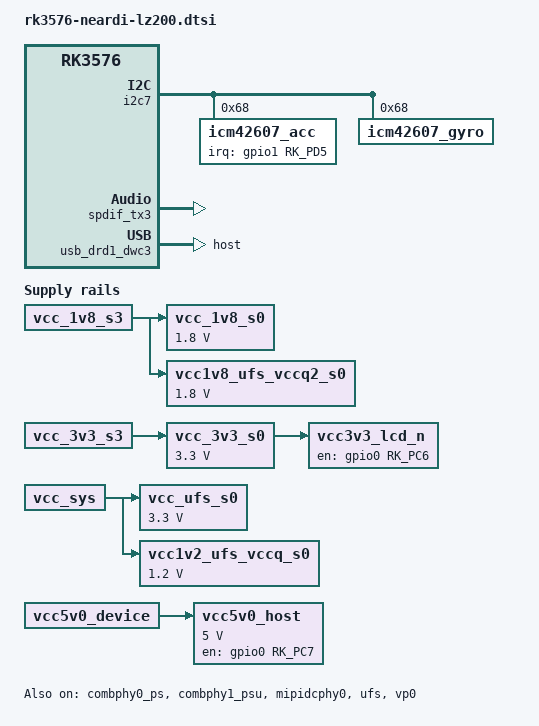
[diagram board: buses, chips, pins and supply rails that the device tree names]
// SPDX-License-Identifier: (GPL-2.0+ OR MIT)
/*
 * Copyright (c) 2024 Rockchip Electronics Co., Ltd.
 *
 */

#include <dt-bindings/usb/pd.h>
#include "rk3576-neardi.dtsi"
#include "rk3576-rk806.dtsi"

/ {
	pdmics: dummy-codec {
		status = "disabled";
		compatible = "rockchip,dummy-codec";
		#sound-dai-cells = <0>;
	};

	pdm_mic_array: pdm-mic-array {
		status = "disabled";
		compatible = "simple-audio-card";
		simple-audio-card,name = "rockchip,pdm-mic-array";
		simple-audio-card,cpu {
			sound-dai = <&pdm1>;
		};
		simple-audio-card,codec {
			sound-dai = <&pdmics>;
		};
	};

	vcc_1v8_s0: vcc-1v8-s0 {
		compatible = "regulator-fixed";
		regulator-name = "vcc_1v8_s0";
		regulator-boot-on;
		regulator-always-on;
		regulator-min-microvolt = <1800000>;
		regulator-max-microvolt = <1800000>;
		vin-supply = <&vcc_1v8_s3>;
	};

	vcc_3v3_s0: vcc-3v3-s0 {
		compatible = "regulator-fixed";
		regulator-name = "vcc_3v3_s0";
		regulator-boot-on;
		regulator-always-on;
		regulator-min-microvolt = <3300000>;
		regulator-max-microvolt = <3300000>;
		vin-supply = <&vcc_3v3_s3>;
	};

	vcc_ufs_s0: vcc-ufs-s0 {
		compatible = "regulator-fixed";
		regulator-name = "vcc_ufs_s0";
		regulator-boot-on;
		regulator-always-on;
		regulator-min-microvolt = <3300000>;
		regulator-max-microvolt = <3300000>;
		vin-supply = <&vcc_sys>;
	};

	vcc1v8_ufs_vccq2_s0: vcc1v8-ufs-vccq2-s0 {
		compatible = "regulator-fixed";
		regulator-name = "vcc1v8_ufs_vccq2_s0";
		regulator-boot-on;
		regulator-always-on;
		regulator-min-microvolt = <1800000>;
		regulator-max-microvolt = <1800000>;
		vin-supply = <&vcc_1v8_s3>;
	};

	vcc1v2_ufs_vccq_s0: vcc1v2-ufs-vccq-s0 {
		compatible = "regulator-fixed";
		regulator-name = "vcc1v2_ufs_vccq_s0";
		regulator-boot-on;
		regulator-always-on;
		regulator-min-microvolt = <1200000>;
		regulator-max-microvolt = <1200000>;
		vin-supply = <&vcc_sys>;
	};

	vcc3v3_lcd_n: vcc3v3-lcd0-n {
		compatible = "regulator-fixed";
		regulator-name = "vcc3v3_lcd0_n";
		regulator-boot-on;
		enable-active-high;
		gpio = <&gpio0 RK_PC6 GPIO_ACTIVE_HIGH>;
		vin-supply = <&vcc_3v3_s0>;
	};

	vcc5v0_host: vcc5v0-host {
		compatible = "regulator-fixed";
		regulator-name = "vcc5v0_host";
		regulator-boot-on;
		regulator-always-on;
		regulator-min-microvolt = <5000000>;
		regulator-max-microvolt = <5000000>;
		enable-active-high;
		gpio = <&gpio0 RK_PC7 GPIO_ACTIVE_HIGH>;
		vin-supply = <&vcc5v0_device>;
		pinctrl-names = "default";
		pinctrl-0 = <&usb_host_pwren>;
	};
};

&combphy0_ps {
	status = "okay";
};

&combphy1_psu {
	status = "okay";
};

&i2c7 {
	status = "okay";
	pinctrl-names = "default";
	pinctrl-0 = <&i2c7m1_xfer>;


	icm42607_acc: icm_acc@68 {
		status = "okay";
		compatible = "icm42607_acc";
		reg = <0x68>;
		irq-gpio = <&gpio1 RK_PD5 IRQ_TYPE_EDGE_RISING>;
		irq_enable = <0>;
		poll_delay_ms = <30>;
		type = <SENSOR_TYPE_ACCEL>;
		layout = <4>;
	};

	icm42607_gyro: icm_gyro@68 {
		status = "okay";
		compatible = "icm42607_gyro";
		reg = <0x68>;
		poll_delay_ms = <30>;
		type = <SENSOR_TYPE_GYROSCOPE>;
		layout = <4>;
	};
};

/*
 * mipidcphy0 needs to be enabled
 * when dsi is enabled
 */
&mipidcphy0 {
	status = "okay";
};

&pdm1 {
	status = "disabled";
	pinctrl-names = "default", "idle", "clk";
	pinctrl-0 = <&pdm1m1_sdi0
		     &pdm1m1_sdi1
		     &pdm1m1_sdi2
		     &pdm1m1_sdi3>;
	pinctrl-1 = <&pdm1m1_clk0_idle
		     &pdm1m1_clk1_idle>;
	pinctrl-2 = <&pdm1m1_clk0
		     &pdm1m1_clk1>;
};

&pinctrl {
	usb {
		usb_host_pwren: usb-host-pwren {
			rockchip,pins = <0 RK_PC7 RK_FUNC_GPIO &pcfg_pull_none>;
		};
	};
};

&spdif_tx3 {
	status = "okay";
};

&ufs {
	vcc-supply = <&vcc_ufs_s0>;
	vccq-supply = <&vcc1v2_ufs_vccq_s0>;
	vccq2-supply = <&vcc1v8_ufs_vccq2_s0>;
	status = "okay";
};

&u2phy0_otg {
	rockchip,typec-vbus-det;
};

&u2phy1_otg {
	phy-supply = <&vcc5v0_host>;
};

&usb_drd1_dwc3 {
	dr_mode = "host";
	status = "okay";
};

&vp0 {
	status = "okay";
};

&i2c1 {
	pinctrl-names = "default";
	pinctrl-0 = <&i2c1m0_xfer>;
};
